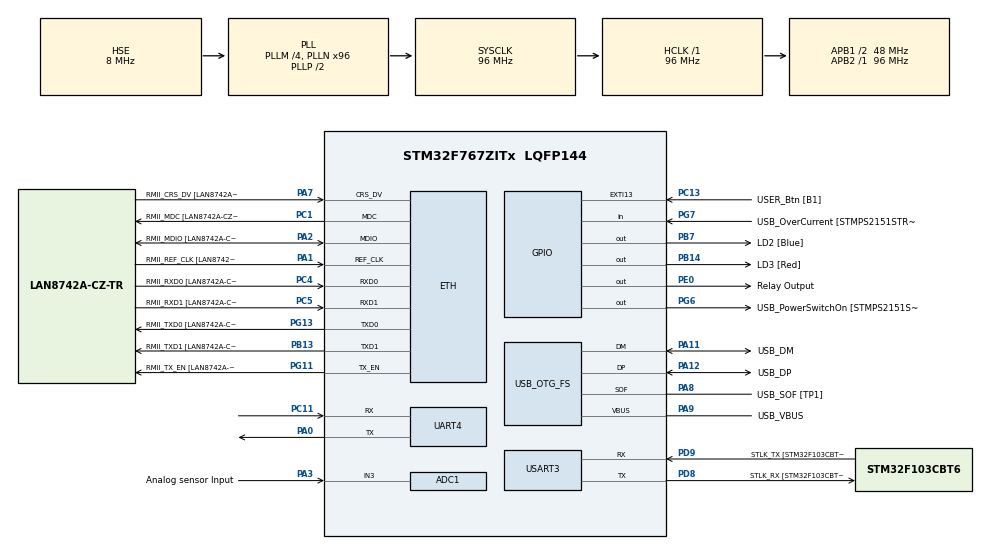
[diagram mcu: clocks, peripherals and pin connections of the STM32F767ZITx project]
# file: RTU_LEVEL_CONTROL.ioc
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ADC1.Channel-1\#ChannelRegularConversion=ADC_CHANNEL_3
ADC1.NbrOfConversionFlag=1
ADC1.Rank-1\#ChannelRegularConversion=1
ADC1.SamplingTime-1\#ChannelRegularConversion=ADC_SAMPLETIME_3CYCLES
ADC1.master=1
CORTEX_M7.default_mode_Activation=1
ETH.MediaInterface=HAL_ETH_RMII_MODE
ETH.PHY_Name=LAN8742A_PHY_ADDRESS
ETH.PHY_Value=0
ETH.PhyAddress=0
LWIP.BSP.number=1
LWIP.GATEWAY_ADDRESS=192.168.002.001
LWIP.IP_ADDRESS=192.168.002.100
LWIP.LWIP_DHCP=0
LWIP.NETMASK_ADDRESS=255.255.255.000
LWIP.Version=v2.1.2_Cube
LWIP0.BSP.STBoard=false
LWIP0.BSP.api=BSP_COMPONENT_DRIVER
LWIP0.BSP.component=LAN8742
LWIP0.BSP.instance=LAN8742
LWIP0.BSP.name=Driver_PHY
LWIP0.BSP.semaphore=S_LAN8742
LWIP0.BSP.solution=LAN8742
Mcu.Family=STM32F7
Mcu.Name=STM32F767ZITx
Mcu.Package=LQFP144
NVIC.PriorityGroup=NVIC_PRIORITYGROUP_4
PA0/WKUP.Mode=Asynchronous
PA0/WKUP.Signal=UART4_TX
PA1.GPIO_Label=RMII_REF_CLK [LAN8742A-CZ-TR_REFCLK0]
PA1.Mode=RMII
PA1.Signal=ETH_REF_CLK
PA10.GPIO_Label=USB_ID
PA10.Signal=USB_OTG_FS_ID
PA11.GPIO_Label=USB_DM
PA11.Mode=Device_Only
PA11.Signal=USB_OTG_FS_DM
PA12.GPIO_Label=USB_DP
PA12.Mode=Device_Only
PA12.Signal=USB_OTG_FS_DP
PA13.GPIO_Label=TMS
PA13.Mode=Serial_Wire
PA13.Signal=SYS_JTMS-SWDIO
PA14.GPIO_Label=TCK
PA14.Mode=Serial_Wire
PA14.Signal=SYS_JTCK-SWCLK
PA2.GPIO_Label=RMII_MDIO [LAN8742A-CZ-TR_MDIO]
PA2.Mode=RMII
PA2.Signal=ETH_MDIO
PA3.GPIO_Label=Analog sensor Input
PA3.Signal=ADCx_IN3
PA7.GPIO_Label=RMII_CRS_DV [LAN8742A-CZ-TR_CRS_DV]
PA7.Mode=RMII
PA7.Signal=ETH_CRS_DV
PA8.GPIO_Label=USB_SOF [TP1]
PA8.Mode=Activate_SOF_FS
PA8.Signal=USB_OTG_FS_SOF
PA9.GPIO_Label=USB_VBUS
PA9.Mode=Activate_VBUS
PA9.Signal=USB_OTG_FS_VBUS
PB13.GPIO_Label=RMII_TXD1 [LAN8742A-CZ-TR_TXD1]
PB13.Mode=RMII
PB13.Signal=ETH_TXD1
PB14.GPIO_Label=LD3 [Red]
PB14.Signal=GPIO_Output
PB3.GPIO_Label=SWO
PB3.Signal=SYS_JTDO-SWO
PB7.GPIO_Label=LD2 [Blue]
PB7.Signal=GPIO_Output
PC1.GPIO_Label=RMII_MDC [LAN8742A-CZ-TR_MDC]
PC1.Mode=RMII
PC1.Signal=ETH_MDC
PC11.Mode=Asynchronous
PC11.Signal=UART4_RX
PC13.GPIO_Label=USER_Btn [B1]
PC13.Signal=GPXTI13
PC14/OSC32_IN.Mode=LSE-External-Oscillator
PC14/OSC32_IN.Signal=RCC_OSC32_IN
PC15/OSC32_OUT.Mode=LSE-External-Oscillator
PC15/OSC32_OUT.Signal=RCC_OSC32_OUT
PC4.GPIO_Label=RMII_RXD0 [LAN8742A-CZ-TR_RXD0]
PC4.Mode=RMII
PC4.Signal=ETH_RXD0
PC5.GPIO_Label=RMII_RXD1 [LAN8742A-CZ-TR_RXD1]
PC5.Mode=RMII
PC5.Signal=ETH_RXD1
PD8.GPIO_Label=STLK_RX [STM32F103CBT6_PA3]
PD8.Mode=Asynchronous
PD8.Signal=USART3_TX
PD9.GPIO_Label=STLK_TX [STM32F103CBT6_PA2]
PD9.Mode=Asynchronous
PD9.Signal=USART3_RX
PE0.GPIO_Label=Relay Output
PE0.Signal=GPIO_Output
PG11.GPIO_Label=RMII_TX_EN [LAN8742A-CZ-TR_TXEN]
PG11.Mode=RMII
PG11.Signal=ETH_TX_EN
PG13.GPIO_Label=RMII_TXD0 [LAN8742A-CZ-TR_TXD0]
PG13.Mode=RMII
PG13.Signal=ETH_TXD0
PG6.GPIO_Label=USB_PowerSwitchOn [STMPS2151STR_EN]
PG6.Signal=GPIO_Output
PG7.GPIO_Label=USB_OverCurrent [STMPS2151STR_FAULT]
PG7.Signal=GPIO_Input
PH0/OSC_IN.GPIO_Label=MCO [STM32F103CBT6_PA8]
PH0/OSC_IN.Mode=HSE-External-Clock-Source
PH0/OSC_IN.Signal=RCC_OSC_IN
PH1/OSC_OUT.Mode=HSE-External-Clock-Source
PH1/OSC_OUT.Signal=RCC_OSC_OUT
ProjectManager.HeapSize=0x200
ProjectManager.StackSize=0x400
ProjectManager.TargetToolchain=STM32CubeIDE
RCC.48MHZClocksFreq_Value=24000000
RCC.AHBFreq_Value=96000000
RCC.APB1CLKDivider=RCC_HCLK_DIV2
RCC.APB1Freq_Value=48000000
RCC.APB1TimFreq_Value=96000000
RCC.APB2Freq_Value=96000000
RCC.APB2TimFreq_Value=96000000
RCC.CortexFreq_Value=96000000
RCC.HCLKFreq_Value=96000000
RCC.HSE_VALUE=8000000
RCC.HSI_VALUE=16000000
RCC.PLLM=4
RCC.PLLMUL=RCC_PLL_MUL9
RCC.PLLN=96
RCC.PLLQ=4
RCC.PRESCALERUSB=RCC_USBCLKSOURCE_PLL_DIV1_5
RCC.SYSCLKFreq_VALUE=96000000
RCC.SYSCLKSource=RCC_SYSCLKSOURCE_PLLCLK
RCC.SYSCLKSourceVirtual=RCC_SYSCLKSOURCE_PLLCLK
RCC.USBFreq_Value=48000000
RCC.VCOOutputFreq_Value=192000000
SH.ADCx_IN3.0=ADC1_IN3,IN3
USART3.VirtualMode-Asynchronous=VM_ASYNC
USB_OTG_FS.VirtualMode=Device_Only
VP_LWIP_VS_Enabled.Mode=Enabled
board=NUCLEO-F767ZI

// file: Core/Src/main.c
/* USER CODE BEGIN Header */
/**
  ******************************************************************************
  * @file           : main.c
  * @brief          : Main program body
  ******************************************************************************
  * @attention
  *
  * Copyright (c) 2026 STMicroelectronics.
  * All rights reserved.
  *
  * This software is licensed under terms that can be found in the LICENSE file
  * in the root directory of this software component.
  * If no LICENSE file comes with this software, it is provided AS-IS.
  *
  ******************************************************************************
  */
/* USER CODE END Header */
#include "main.h"
#include "adc.h"
#include "lwip.h"
#include "usart.h"
#include "usb_otg.h"
#include "gpio.h"

/* USER CODE BEGIN Includes */
#include <Stdio.h>
#include "esp32_interface.h"
#include "connectivity_manager.h"
#include "data_manager.h"
#include "modbus_tcp_server.h"
/* USER CODE END Includes */

/* USER CODE BEGIN PV */

uint32_t adcValue;
float voltage;
float current;
float level;

/* USER CODE END PV */

void SystemClock_Config(void);
static void MPU_Config(void);
/* USER CODE BEGIN PFP */

uint32_t Read_ADC(void);
float ADC_To_Voltage(uint32_t adc);
float Voltage_To_Current(float voltage);
float Current_To_Level(float current);
void Control_Relay(float level);

/* USER CODE END PFP */

/* USER CODE BEGIN 0 */

int _write(int file, char *ptr, int len)
{
    HAL_UART_Transmit(&huart3, (uint8_t *)ptr, len, HAL_MAX_DELAY);
    return len;
}

/* USER CODE END 0 */

int main(void)
{

  /* MPU Configuration--------------------------------------------------------*/
  MPU_Config();

  /* MCU Configuration--------------------------------------------------------*/

  /* Reset of all peripherals, Initializes the Flash interface and the Systick. */
  HAL_Init();

  /* Configure the system clock */
  SystemClock_Config();

  /* Initialize all configured peripherals */
  MX_GPIO_Init();
  MX_USART3_UART_Init();
  MX_USB_OTG_FS_PCD_Init();
  MX_ADC1_Init();
  MX_LWIP_Init();
  MX_UART4_Init();
  /* USER CODE BEGIN 2 */

  printf("\r\n");
  printf("=================================\r\n");
  printf("RTU LEVEL CONTROL STARTED\r\n");
  printf("STM32F767ZI Ready\r\n");
  printf("=================================\r\n\r\n");
  ModbusTCP_Server_Init();
  ESP32_Interface_Init();
  ConnectivityManager_Init();
  DataManager_Init();

  /* USER CODE END 2 */

  /* Infinite loop */
  while (1)
  {

    /* USER CODE BEGIN 3 */

    ESP32_Interface_Process();
    ConnectivityManager_Process();
    DataManager_Process();

	/* ---- Read sensors ---- */
	adcValue = Read_ADC();
	voltage  = ADC_To_Voltage(adcValue);
	current  = Voltage_To_Current(voltage);
	level    = Current_To_Level(current);
	Control_Relay(level);

	/* ---- Process Ethernet / Modbus TCP ---- */
	MX_LWIP_Process();

	/* ---- Record Data & Send via Active Transport ---- */
	DataManager_RecordReadings(
		(uint16_t)adcValue,
		voltage,
		current,
		level,
		(uint8_t)HAL_GPIO_ReadPin(GPIOE, GPIO_PIN_0)
	);

	HAL_Delay(100); /* ~10 Hz main loop rate */
  }
  /* USER CODE END 3 */
}

void SystemClock_Config(void)
{
  RCC_OscInitTypeDef RCC_OscInitStruct = {0};
  RCC_ClkInitTypeDef RCC_ClkInitStruct = {0};

  /** Configure LSE Drive Capability
  */
  HAL_PWR_EnableBkUpAccess();

  /** Configure the main internal regulator output voltage
  */
  __HAL_RCC_PWR_CLK_ENABLE();
  __HAL_PWR_VOLTAGESCALING_CONFIG(PWR_REGULATOR_VOLTAGE_SCALE3);

  /** Initializes the RCC Oscillators according to the specified parameters
  * in the RCC_OscInitTypeDef structure.
  */
  RCC_OscInitStruct.OscillatorType = RCC_OSCILLATORTYPE_HSE;
  RCC_OscInitStruct.HSEState = RCC_HSE_BYPASS;
  RCC_OscInitStruct.PLL.PLLState = RCC_PLL_ON;
  RCC_OscInitStruct.PLL.PLLSource = RCC_PLLSOURCE_HSE;
  RCC_OscInitStruct.PLL.PLLM = 4;
  RCC_OscInitStruct.PLL.PLLN = 96;
  RCC_OscInitStruct.PLL.PLLP = RCC_PLLP_DIV2;
  RCC_OscInitStruct.PLL.PLLQ = 4;
  RCC_OscInitStruct.PLL.PLLR = 2;
  if (HAL_RCC_OscConfig(&RCC_OscInitStruct) != HAL_OK)
  {
    Error_Handler();
  }

  /** Activate the Over-Drive mode
  */
  if (HAL_PWREx_EnableOverDrive() != HAL_OK)
  {
    Error_Handler();
  }

  /** Initializes the CPU, AHB and APB buses clocks
  */
  RCC_ClkInitStruct.ClockType = RCC_CLOCKTYPE_HCLK|RCC_CLOCKTYPE_SYSCLK
                              |RCC_CLOCKTYPE_PCLK1|RCC_CLOCKTYPE_PCLK2;
  RCC_ClkInitStruct.SYSCLKSource = RCC_SYSCLKSOURCE_PLLCLK;
  RCC_ClkInitStruct.AHBCLKDivider = RCC_SYSCLK_DIV1;
  RCC_ClkInitStruct.APB1CLKDivider = RCC_HCLK_DIV2;
  RCC_ClkInitStruct.APB2CLKDivider = RCC_HCLK_DIV1;

  if (HAL_RCC_ClockConfig(&RCC_ClkInitStruct, FLASH_LATENCY_3) != HAL_OK)
  {
    Error_Handler();
  }
}

/* USER CODE BEGIN 4 */
uint32_t Read_ADC(void)
{
    HAL_ADC_Start(&hadc1);
    HAL_ADC_PollForConversion(&hadc1, HAL_MAX_DELAY);
    return HAL_ADC_GetValue(&hadc1);
}

float ADC_To_Voltage(uint32_t adc)
{
    return (adc * 3.3f) / 4095.0f;
}

float Voltage_To_Current(float voltage)
{
    return 4.0f + ((voltage * 16.0f) / 3.3f);
}

float Current_To_Level(float current)
{
    return ((current - 4.0f) * 100.0f) / 16.0f;
}

void Control_Relay(float level)
{
    if (level >= 80.0f)
    {
        HAL_GPIO_WritePin(GPIOE, GPIO_PIN_0, GPIO_PIN_SET);
    }
    else
    {
        HAL_GPIO_WritePin(GPIOE, GPIO_PIN_0, GPIO_PIN_RESET);
    }
}
/* USER CODE END 4 */

 /* MPU Configuration */

void MPU_Config(void)
{
  MPU_Region_InitTypeDef MPU_InitStruct = {0};

  /* Disables the MPU */
  HAL_MPU_Disable();

  /** Initializes and configures the Region and the memory to be protected
  */
  MPU_InitStruct.Enable = MPU_REGION_ENABLE;
  MPU_InitStruct.Number = MPU_REGION_NUMBER0;
  MPU_InitStruct.BaseAddress = 0x0;
  MPU_InitStruct.Size = MPU_REGION_SIZE_4GB;
  MPU_InitStruct.SubRegionDisable = 0x87;
  MPU_InitStruct.TypeExtField = MPU_TEX_LEVEL0;
  MPU_InitStruct.AccessPermission = MPU_REGION_NO_ACCESS;
  MPU_InitStruct.DisableExec = MPU_INSTRUCTION_ACCESS_DISABLE;
  MPU_InitStruct.IsShareable = MPU_ACCESS_SHAREABLE;
  MPU_InitStruct.IsCacheable = MPU_ACCESS_NOT_CACHEABLE;
  MPU_InitStruct.IsBufferable = MPU_ACCESS_NOT_BUFFERABLE;

  HAL_MPU_ConfigRegion(&MPU_InitStruct);
  /* Enables the MPU */
  HAL_MPU_Enable(MPU_PRIVILEGED_DEFAULT);

}

void Error_Handler(void)
{
  __disable_irq();
  while (1)
  {
  }
}
